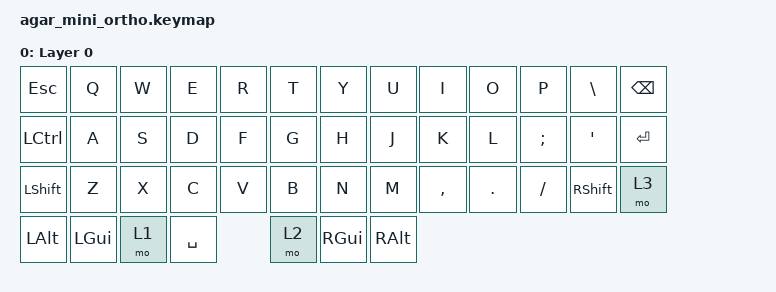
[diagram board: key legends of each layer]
// This file was generated from a template. Edit it to match your keyboard.
// See https://zmk.dev/docs/development/hardware-integration/new-shield for more instructions.

#include <behaviors.dtsi>
#include <dt-bindings/zmk/keys.h>

/ {
    // Define a default keymap here.
    // See https://zmk.dev/docs/development/hardware-integration/new-shield#default-keymap.
    keymap {
        compatible = "zmk,keymap";

        default_layer {
            display-name = "Layer 0";
            bindings = <
                &kp ESCAPE &kp Q &kp W &kp E &kp R &kp T &kp Y &kp U &kp I &kp O &kp P &kp BACKSLASH &kp BACKSPACE
                &kp LCTRL  &kp A &kp S &kp D &kp F &kp G &kp H &kp J &kp K &kp L &kp SEMICOLON &kp SINGLE_QUOTE &kp ENTER
                &kp LSHIFT &kp Z &kp X &kp C &kp V &kp B &kp N &kp M &kp COMMA &kp PERIOD &kp SLASH &kp RSHIFT &mo 3
                &kp LALT &kp LGUI &mo 1 &kp SPACE &mo 2 &kp RGUI &kp RALT
            >;
        extra1 {
            display-name = "Test Empty";
            status = "reserved";
        };

        };
    };
};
